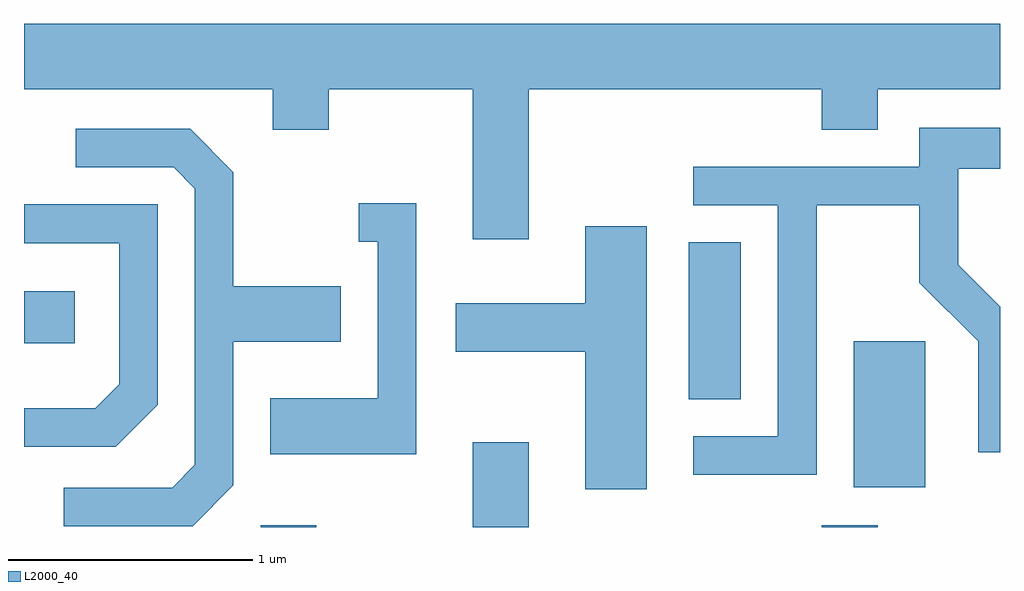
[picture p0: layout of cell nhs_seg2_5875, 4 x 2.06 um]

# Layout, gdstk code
import gdstk
lib = gdstk.Library(unit=1e-6, precision=1e-09)
def R(c, l, rs):  # rectangles x0, y0, x1, y1
    for r in rs: c.add(gdstk.rectangle(r[:2], r[2:], *l))
def P(c, l, *ps):  # polygons
    for p in ps: c.add(gdstk.Polygon(p, *l))
L2000_40 = (2000, 40)

nhs_seg2_5875 = lib.new_cell('nhs_seg2_5875')
R(nhs_seg2_5875, L2000_40, [(358.581,1099.802,358.809,1099.809), (359.451,1099.802,359.679,1100.149), (360.881,1099.802,361.109,1099.809), (361.011,1099.966,361.304,1100.564), (360.336,1100.326,360.549,1100.969), (357.611,1100.556,357.819,1100.769)])
P(nhs_seg2_5875, L2000_40, [(359.679,1101.596),(360.881,1101.596),(360.881,1101.431),(361.109,1101.431),(361.109,1101.596),(361.611,1101.596),(361.611,1101.864),(357.611,1101.864),(357.611,1101.596),(358.631,1101.596),(358.631,1101.431),(358.859,1101.431),(358.859,1101.596),(359.451,1101.596),(359.451,1100.981),(359.679,1100.981)],
  [(360.859,1101.121),(361.281,1101.121),(361.281,1100.804),(361.521,1100.564),(361.521,1100.108),(361.611,1100.108),(361.611,1100.705),(361.439,1100.877),(361.439,1101.271),(361.611,1101.271),(361.611,1101.439),(361.281,1101.439),(361.281,1101.279),(360.353,1101.279),(360.353,1101.121),(360.701,1101.121),(360.701,1100.174),(360.353,1100.174),(360.353,1100.016),(360.859,1100.016)],
  [(358.469,1099.974),(358.469,1100.561),(358.909,1100.561),(358.909,1100.789),(358.469,1100.789),(358.469,1101.257),(358.292,1101.434),(357.823,1101.434),(357.823,1101.276),(358.224,1101.276),(358.311,1101.189),(358.311,1100.057),(358.219,1099.964),(357.773,1099.964),(357.773,1099.806),(358.302,1099.806)],
  [(359.219,1101.129),(358.983,1101.129),(358.983,1100.971),(359.061,1100.971),(359.061,1100.329),(358.621,1100.329),(358.621,1100.101),(359.219,1100.101)],
  [(358.159,1100.304),(358.159,1101.124),(357.611,1101.124),(357.611,1100.966),(358.001,1100.966),(358.001,1100.387),(357.904,1100.289),(357.611,1100.289),(357.611,1100.131),(357.987,1100.131)],
  [(360.164,1101.034),(359.911,1101.034),(359.911,1100.719),(359.381,1100.719),(359.381,1100.521),(359.911,1100.521),(359.911,1099.956),(360.164,1099.956)])

lib.write_gds('nhs_seg2_5875.gds')
